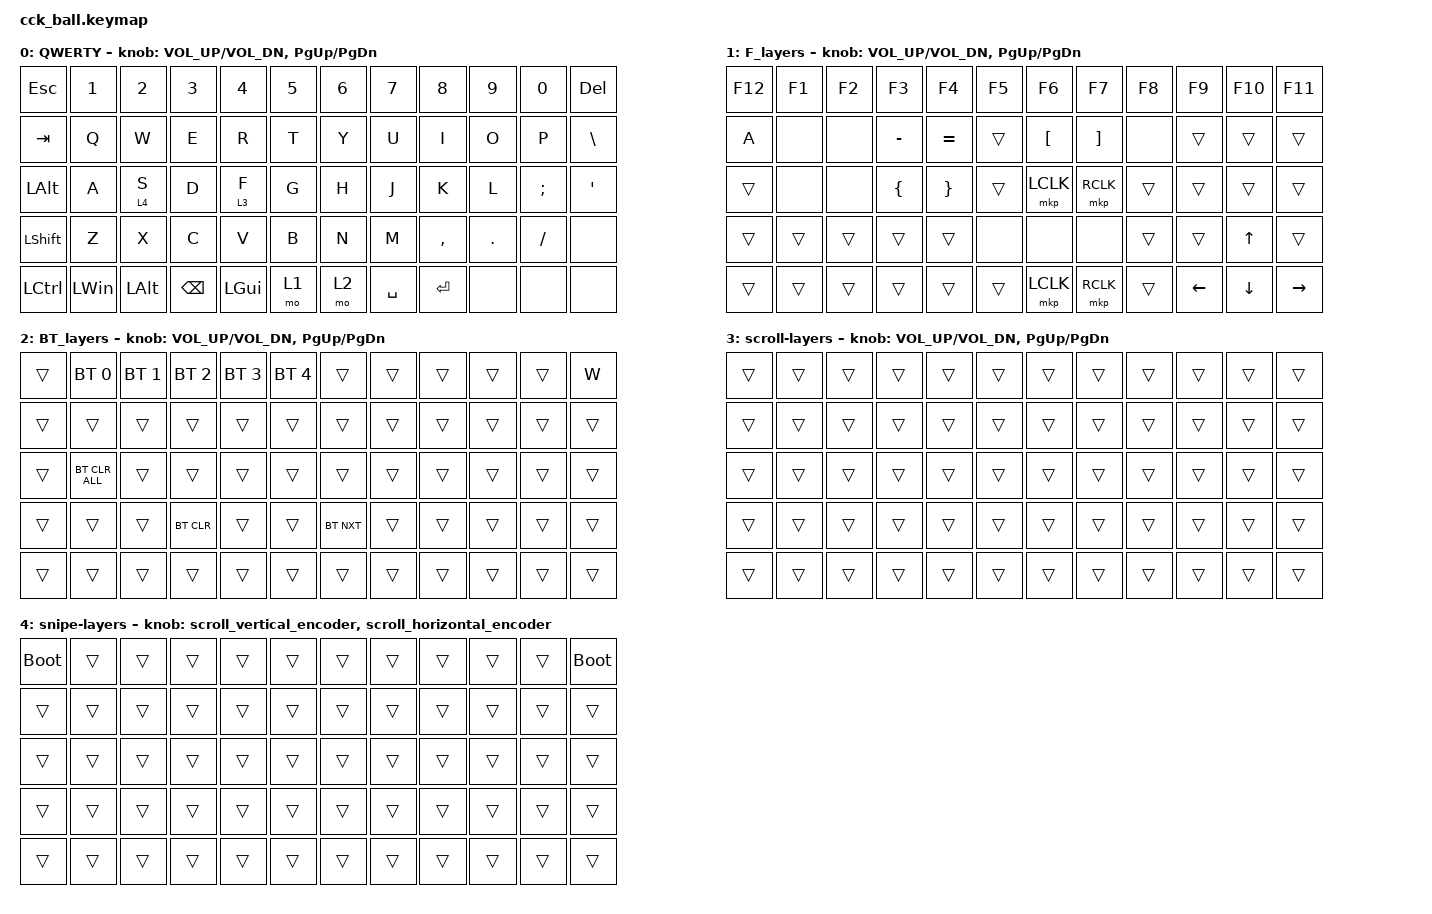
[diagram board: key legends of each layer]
#define ZMK_POINTING_DEFAULT_MOVE_VAL 1000 // 600
#define ZMK_POINTING_DEFAULT_SCRL_VAL 12   // 10

#include <input/processors.dtsi>
#include <zephyr/dt-bindings/input/input-event-codes.h>
#include <behaviors.dtsi>
#include <dt-bindings/zmk/bt.h>
#include <dt-bindings/zmk/keys.h>
#include <dt-bindings/zmk/pointing.h>

&mmv_input_listener { input-processors = <&zip_xy_scaler 2 1>; };

&msc_input_listener { input-processors = <&zip_scroll_scaler 2 1>; };

&msc {
    acceleration-exponent = <0>;      // 0
    time-to-max-speed-ms = <300>;       // 300
    delay-ms = <0>;                   // 0
};

&mmv {
    time-to-max-speed-ms = <300>;
    acceleration-exponent = <1>;
    trigger-period-ms = <16>;
};

&soft_off { hold-time-ms = <2000>; };

/ {
    // 上下滚动编码器行为

    scroll_vertical_encoder: scroll_vertical_encoder {
        compatible = "zmk,behavior-sensor-rotate";
        #sensor-binding-cells = <0>;
        bindings = <&msc SCRL_DOWN>, <&msc SCRL_UP>;

        tap-ms = <100>;
    };

    // 左右滚动编码器行为

    scroll_horizontal_encoder: scroll_horizontal_encoder {
        compatible = "zmk,behavior-sensor-rotate";
        #sensor-binding-cells = <0>;
        bindings = <&msc SCRL_LEFT>, <&msc SCRL_RIGHT>;

        tap-ms = <100>;
    };

    behaviors {
    };

    keymap {
        compatible = "zmk,keymap";

        QWERTY {
            bindings = <
&kp ESC           &kp N1        &kp N2        &kp N3         &kp N4        &kp N5  &kp N6  &kp N7     &kp N8     &kp N9   &kp N0     &kp DELETE
&kp TAB           &kp Q         &kp W         &kp E          &kp R         &kp T   &kp Y   &kp U      &kp I      &kp O    &kp P      &kp BSLH
&kp LEFT_ALT      &kp A         &lt 4 S       &kp D          &lt 3 F       &kp G   &kp H   &kp J      &kp K      &kp L    &kp SEMI   &kp SQT
&kp LEFT_SHIFT    &kp Z         &kp X         &kp C          &kp V         &kp B   &kp N   &kp M      &kp COMMA  &kp DOT  &kp SLASH  &none
&kp LEFT_CONTROL  &kp LEFT_WIN  &kp LEFT_ALT  &kp BACKSPACE  &kp LEFT_GUI  &mo 1   &mo 2   &kp SPACE  &kp ENTER  &none    &none      &none
            >;

            sensor-bindings = <&inc_dec_kp C_VOL_UP C_VOL_DN &inc_dec_kp PG_UP PG_DN>;
        };

        F_layers {
            bindings = <
&kp F12  &kp F1  &kp F2  &kp F3          &kp F4           &kp F5  &kp F6            &kp F7             &kp F8  &kp F9    &kp F10       &kp F11
&kp A    &none   &none   &kp MINUS       &kp EQUAL        &trans  &kp LEFT_BRACKET  &kp RIGHT_BRACKET  &none   &trans    &trans        &trans
&trans   &none   &none   &kp LEFT_BRACE  &kp RIGHT_BRACE  &trans  &mkp LCLK         &mkp RCLK          &trans  &trans    &trans        &trans
&trans   &trans  &trans  &trans          &trans           &none   &none             &none              &trans  &trans    &kp UP_ARROW  &trans
&trans   &trans  &trans  &trans          &trans           &trans  &mkp LCLK         &mkp RCLK          &trans  &kp LEFT  &kp DOWN      &kp RIGHT
            >;

            sensor-bindings = <&inc_dec_kp C_VOL_UP C_VOL_DN &inc_dec_kp PG_UP PG_DN>;
        };

        BT_layers {
            bindings = <
&trans  &bt BT_SEL 0    &bt BT_SEL 1  &bt BT_SEL 2  &bt BT_SEL 3  &bt BT_SEL 4  &trans      &trans  &trans  &trans  &trans  &kp W
&trans  &trans          &trans        &trans        &trans        &trans        &trans      &trans  &trans  &trans  &trans  &trans
&trans  &bt BT_CLR_ALL  &trans        &trans        &trans        &trans        &trans      &trans  &trans  &trans  &trans  &trans
&trans  &trans          &trans        &bt BT_CLR    &trans        &trans        &bt BT_NXT  &trans  &trans  &trans  &trans  &trans
&trans  &trans          &trans        &trans        &trans        &trans        &trans      &trans  &trans  &trans  &trans  &trans
            >;

            sensor-bindings = <&inc_dec_kp C_VOL_UP C_VOL_DN &inc_dec_kp PG_UP PG_DN>;
        };

        scroll-layers {
            bindings = <
&trans  &trans  &trans  &trans  &trans  &trans  &trans  &trans  &trans  &trans  &trans  &trans
&trans  &trans  &trans  &trans  &trans  &trans  &trans  &trans  &trans  &trans  &trans  &trans
&trans  &trans  &trans  &trans  &trans  &trans  &trans  &trans  &trans  &trans  &trans  &trans
&trans  &trans  &trans  &trans  &trans  &trans  &trans  &trans  &trans  &trans  &trans  &trans
&trans  &trans  &trans  &trans  &trans  &trans  &trans  &trans  &trans  &trans  &trans  &trans
            >;

            sensor-bindings = <&inc_dec_kp C_VOL_UP C_VOL_DN &inc_dec_kp PG_UP PG_DN>;
        };

        snipe-layers {
            bindings = <
&bootloader  &trans  &trans  &trans  &trans  &trans  &trans  &trans  &trans  &trans  &trans  &bootloader
&trans       &trans  &trans  &trans  &trans  &trans  &trans  &trans  &trans  &trans  &trans  &trans
&trans       &trans  &trans  &trans  &trans  &trans  &trans  &trans  &trans  &trans  &trans  &trans
&trans       &trans  &trans  &trans  &trans  &trans  &trans  &trans  &trans  &trans  &trans  &trans
&trans       &trans  &trans  &trans  &trans  &trans  &trans  &trans  &trans  &trans  &trans  &trans
            >;

            sensor-bindings =
                <&scroll_vertical_encoder>,
                // 编码器1：上下滚动,,,,,,,,
                <&scroll_horizontal_encoder>;

            // 编码器2：左右滚动
        };
    };
};
